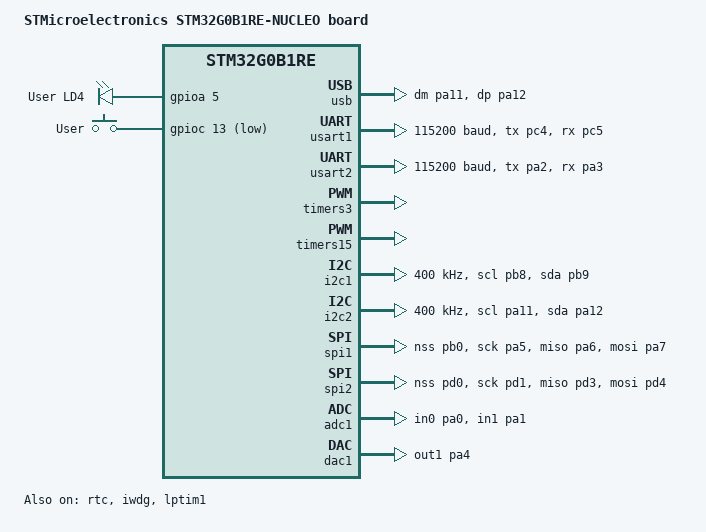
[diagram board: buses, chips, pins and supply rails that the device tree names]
/*
 * Copyright (c) 2020 Thomas Stranger
 *
 * SPDX-License-Identifier: Apache-2.0
 */

/dts-v1/;
#include <st/g0/stm32g0b1Xe.dtsi>
#include <st/g0/stm32g0b1r(b-c-e)tx-pinctrl.dtsi>
#include "arduino_r3_connector.dtsi"

/ {
	model = "STMicroelectronics STM32G0B1RE-NUCLEO board";
	compatible = "st,stm32g0b1re-nucleo";

	chosen {
		zephyr,console = &usart2;
		zephyr,shell-uart = &usart2;
		zephyr,uart-mcumgr = &usart2;
		zephyr,sram = &sram0;
		zephyr,flash = &flash0;
		zephyr,code-partition = &slot0_partition;
	};

	power-states {
		stop0: state0 {
			compatible = "zephyr,power-state";
			power-state-name = "suspend-to-idle";
			substate-id = <1>;
			min-residency-us = <20>;
		};
		stop1: state1 {
			compatible = "zephyr,power-state";
			power-state-name = "suspend-to-idle";
			substate-id = <2>;
			min-residency-us = <100>;
		};
	};

	leds {
		compatible = "gpio-leds";
		green_led_1: led_4 {
			gpios = <&gpioa 5 GPIO_ACTIVE_HIGH>;
			label = "User LD4";
		};
	};

	gpio_keys {
		compatible = "gpio-keys";
		user_button: button {
			label = "User";
			gpios = <&gpioc 13 GPIO_ACTIVE_LOW>;
		};
	};

	aliases {
		led0 = &green_led_1;
		sw0 = &user_button;
	};
};

&clk_hsi {
	status = "okay";
};

&pll {
	div-m = <1>;
	mul-n = <8>;
	div-p = <2>;
	div-q = <2>;
	div-r = <2>;
	clocks = <&clk_hsi>;
	status = "okay";
};

&rcc {
	clocks = <&pll>;
	clock-frequency = <DT_FREQ_M(64)>;
	ahb-prescaler = <1>;
	apb1-prescaler = <1>;
};

zephyr_udc0: &usb {
	pinctrl-0 = <&usb_dm_pa11 &usb_dp_pa12>;
	pinctrl-names = "default";
	status = "okay";
};

&usart1 {
	pinctrl-0 = <&usart1_tx_pc4 &usart1_rx_pc5>;
	pinctrl-names = "default";
	current-speed = <115200>;
	status = "okay";
};

&usart2 {
	pinctrl-0 = <&usart2_tx_pa2 &usart2_rx_pa3>;
	pinctrl-names = "default";
	current-speed = <115200>;
	status = "okay";
};

&rtc {
	status = "okay";
};

&iwdg {
	status = "okay";
};

&timers3 {
	st,prescaler = <10000>;
	status = "okay";
	pwm3: pwm {
		status = "okay";
		pinctrl-0 = <&tim3_ch1_pb4>;
		pinctrl-names = "default";
	};
};

&timers15 {
	st,prescaler = <10000>;
	status = "okay";
	pwm15: pwm {
		status = "okay";
		pinctrl-0 = <&tim15_ch1_pb14>;
		pinctrl-names = "default";
	};
};

&i2c1 {
	pinctrl-0 = <&i2c1_scl_pb8 &i2c1_sda_pb9>;
	pinctrl-names = "default";
	status = "okay";
	clock-frequency = <I2C_BITRATE_FAST>;
};

&i2c2 {
	pinctrl-0 = <&i2c2_scl_pa11 &i2c2_sda_pa12>;
	pinctrl-names = "default";
	status = "okay";
	clock-frequency = <I2C_BITRATE_FAST>;
};

&spi1 {
	pinctrl-0 = <&spi1_nss_pb0 &spi1_sck_pa5
		     &spi1_miso_pa6 &spi1_mosi_pa7>;
	pinctrl-names = "default";
	status = "okay";
};

&spi2 {
	pinctrl-0 = <&spi2_nss_pd0 &spi2_sck_pd1
		     &spi2_miso_pd3 &spi2_mosi_pd4>;
	pinctrl-names = "default";
	status = "okay";
};

&adc1 {
	pinctrl-0 = <&adc1_in0_pa0 &adc1_in1_pa1>;
	pinctrl-names = "default";
	status = "okay";
};

&dac1 {
	status = "okay";
	pinctrl-0 = <&dac1_out1_pa4>;
	pinctrl-names = "default";
};

&flash0 {
	partitions {
		compatible = "fixed-partitions";
		#address-cells = <1>;
		#size-cells = <1>;

		boot_partition: partition@0 {
			label = "mcuboot";
			reg = <0x00000000 DT_SIZE_K(48)>;
			read-only;
		};
		slot0_partition: partition@C000 {
			label = "image-0";
			reg = <0x0000C000 DT_SIZE_K(200)>;
		};
		slot1_partition: partition@3E000 {
			label = "image-1";
			reg = <0x0003E000 DT_SIZE_K(200)>;
		};
		/* final 64KiB reserved for app storage partition */
		storage_partition: partition@70000 {
			label = "storage";
			reg = <0x00070000 DT_SIZE_K(64)>;
		};
	};
};

&cpu0 {
	cpu-power-states = <&stop0 &stop1>;
};

&lptim1 {
	status = "okay";
};
